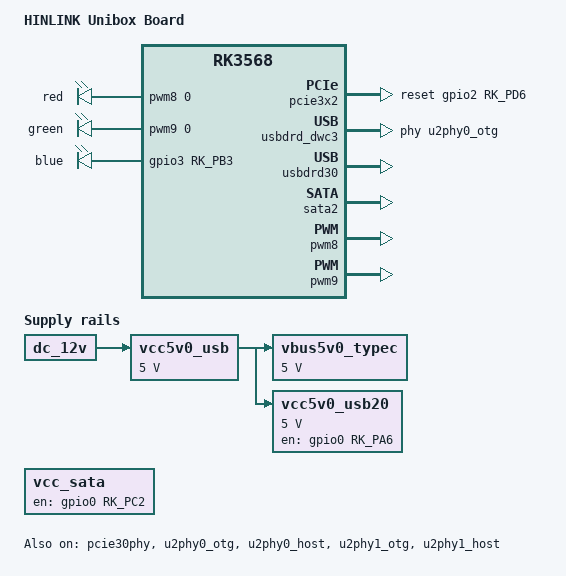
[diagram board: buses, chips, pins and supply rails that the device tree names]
// SPDX-License-Identifier: (GPL-2.0+ OR MIT)
/*
* Copyright (c) 2020 Rockchip Electronics Co., Ltd.
*/

/dts-v1/;

#include "rk3568-opc-h68k.dts"

/ {
    model = "HINLINK Unibox Board";
    compatible = "hinlink,unibox", "rockchip,rk3568";

    /delete-node/ gpio-keys;
    /delete-node/ leds;

    vcc5v0_usb: vcc5v0-usb {
        compatible = "regulator-fixed";
        regulator-name = "vcc5v0_usb";
        regulator-always-on;
        regulator-boot-on;
        regulator-min-microvolt = <5000000>;
        regulator-max-microvolt = <5000000>;
        vin-supply = <&dc_12v>;
    };

    vbus5v0_typec: vbus5v0-typec-regulator {
        compatible = "regulator-fixed";
        regulator-name = "vbus5v0_typec";
        regulator-boot-on;
        regulator-always-on;
        regulator-min-microvolt = <5000000>;
        regulator-max-microvolt = <5000000>;
        vin-supply = <&vcc5v0_usb>;
    };

    vcc5v0_usb20: vcc5v0-usb20-regulator {
        compatible = "regulator-fixed";
        regulator-name = "vcc5v0_usb20";
        regulator-boot-on;
        regulator-always-on;
        regulator-min-microvolt = <5000000>;
        regulator-max-microvolt = <5000000>;
        enable-active-high;
        gpio = <&gpio0 RK_PA6 GPIO_ACTIVE_HIGH>;
        vin-supply = <&vcc5v0_usb>;
        pinctrl-names = "default";
        pinctrl-0 = <&vcc5v0_host_en2>;
    };

    vcc_sata: vcc-sata-regulator {
        compatible = "regulator-fixed";
        regulator-name = "vcc_sata";
        regulator-always-on;
        regulator-boot-on;
        enable-active-high;
        gpio = <&gpio0 RK_PC2 GPIO_ACTIVE_HIGH>;
        pinctrl-names = "default";
        pinctrl-0 = <&sata_pwr>;
    };

    pwm-leds {
        compatible = "pwm-leds";
        red {
            label = "red";
            pwms = <&pwm8 0 1250 0>;
            max-brightness = < 1250 >;
        };
        led_green: green {
            label = "green";
            pwms = <&pwm9 0 1250 0>;
            max-brightness = < 1250 >;
            linux,default-trigger = "heartbeat";
        };
    };

    leds {
        compatible = "gpio-leds";
        pinctrl-names = "default";
        pinctrl-0 = <&led_blue_en>;
        blue {
            gpios = <&gpio3 RK_PB3 GPIO_ACTIVE_HIGH>;
            label = "blue";
        };
    };

    fan: pwm-fan {
        compatible = "pwm-fan";
        cooling-levels = <0 18 102 170 255>;
        #cooling-cells = <2>;
        fan-supply = <&vcc5v0_sys>;
        pwms = <&pwm0 0 50000 0>;
    };

};

&vcc3v3_sys {
    /delete-property/ enable-active-high;
    /delete-property/ gpio;
    /delete-property/ pinctrl-names;
    /delete-property/ pinctrl-0;
    vin-supply = <&dc_12v>;
};

&vcc5v0_otg {
    vin-supply = <&vcc5v0_usb>;
};

&vcc3v3_pcie {
    enable-active-high;
    gpio = <&gpio2 RK_PD2 GPIO_ACTIVE_HIGH>;
    vin-supply = <&dc_12v>;
};

&sdmmc0 {
    status = "disabled";
};

// PCIE3.0 x2 => NVME
&pcie30phy {
    /delete-property/ data-lanes;
    status = "okay";
};

&pcie3x1 {
    status = "disabled";
};

&pcie3x2 {
    reset-gpios = <&gpio2 RK_PD6 GPIO_ACTIVE_HIGH>;

    /delete-property/ rockchip,bifurcation;
    /delete-property/ rockchip,init-delay-ms;
    /delete-node/ pcie@0,0;
};

// MULTI_PHY0 => OTG 3.0
&combphy0_us {
    /delete-property/ rockchip,dis-u3otg0-port;
};

&sata0 {
    status = "disabled";
};

&usbdrd_dwc3 {
    phys = <&u2phy0_otg>, <&combphy0_us PHY_TYPE_USB3>;
    phy-names = "usb2-phy", "usb3-phy";
    /delete-property/ maximum-speed;
    /delete-property/ snps,dis_u2_susphy_quirk;
    status = "okay";
};

&usbdrd30 {
    status = "okay";
};

// MULTI_PHY1 => USB 3.0
// same as h68k

// MULTI_PHY2 => SATA
&pcie2x1 {
    status = "disabled";
};

&sata2 {
    pinctrl-names = "default";
    pinctrl-0 = <&sata2_pins>;
    status = "okay";
};

// USB 2.0
&u2phy0_otg {
    vbus-supply = <&vbus5v0_typec>;
    status = "okay";
};

&u2phy0_host {
    phy-supply = <&vcc5v0_otg>;
    status = "okay";
};

&u2phy1_otg {
    phy-supply = <&vcc5v0_usb20>;
    status = "okay";
};

&u2phy1_host {
    phy-supply = <&vcc5v0_usb20>;
    status = "okay";
};

// OTHERS
&rk809_codec {
    status = "disabled";
};

&rk809 {
    rtc {
        status = "okay";
    };
};

&pwm0 {
    status = "disabled";
};

&fan {
    status = "disabled";
};

&pwm8 {
    status = "okay";
};

&pwm9 {
    status = "okay";
};

&pinctrl {
    usb {
        vcc5v0_host_en2: vcc5v0-host-en2 {
            rockchip,pins = <0 RK_PA6 RK_FUNC_GPIO &pcfg_pull_none>;
        };
    };
    sata {
        sata_pwr: sata-pwr {
            rockchip,pins =
                /* sata power en */
                <0 RK_PC2 RK_FUNC_GPIO &pcfg_pull_none>;
        };
    };
    leds {
        led_blue_en: led-blue-en {
            rockchip,pins =
                <3 RK_PB3 RK_FUNC_GPIO &pcfg_pull_none>;
        };
    };
};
